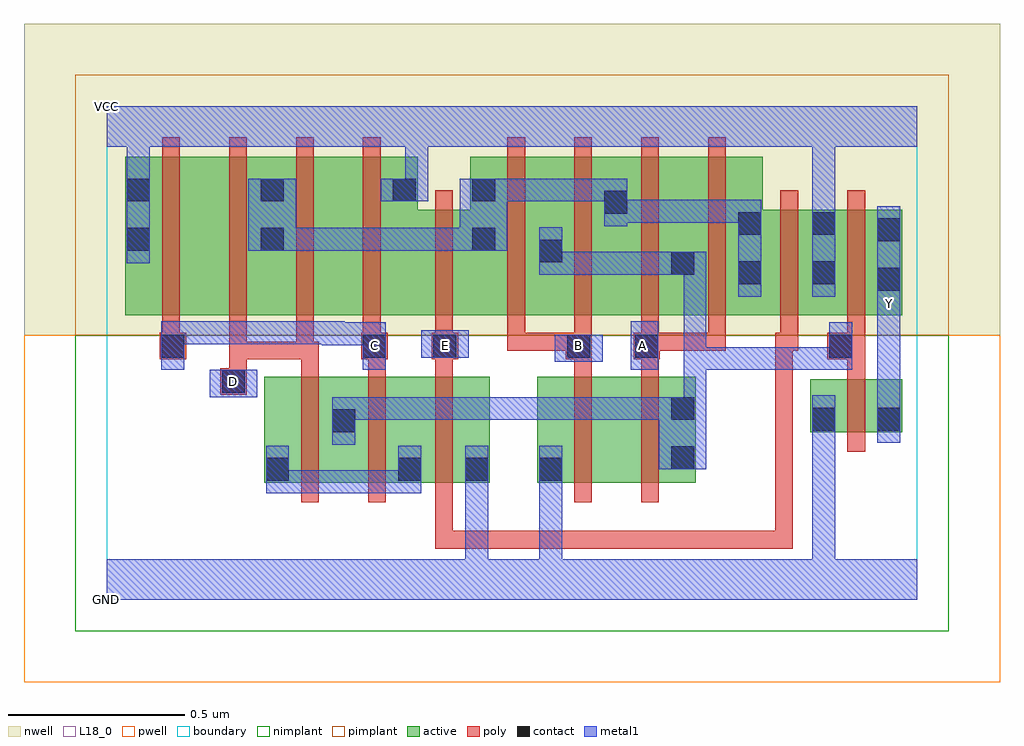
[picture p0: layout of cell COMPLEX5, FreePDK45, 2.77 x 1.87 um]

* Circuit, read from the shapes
.subckt COMPLEX5 A B C D E GND VCC Y
M1 n1 D n2 VSUBS nfet w=0.3u l=0.05u
M2 n2 C n1 VSUBS nfet w=0.3u l=0.05u
M3 GND E n2 VSUBS nfet w=0.3u l=0.05u
M4 n3 B GND VSUBS nfet w=0.3u l=0.05u
M5 n1 A n3 VSUBS nfet w=0.3u l=0.05u
M6 Y n1 GND VSUBS nfet w=0.15u l=0.05u
M7 n4 C VCC n5 pfet w=0.45u l=0.05u
M8 n6 D n4 n5 pfet w=0.45u l=0.05u
M9 n7 D n6 n5 pfet w=0.45u l=0.05u
M10 VCC C n7 n5 pfet w=0.45u l=0.05u
M11 n6 E VCC n5 pfet w=0.3u l=0.05u m=2
M12 n1 B n6 n5 pfet w=0.45u l=0.05u m=2
M13 n1 A n6 n5 pfet w=0.45u l=0.05u m=2
M14 Y n1 VCC n5 pfet w=0.3u l=0.05u
.ends

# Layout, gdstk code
import gdstk
lib = gdstk.Library(unit=1e-6, precision=1e-09)
def R(c, l, rs):  # rectangles x0, y0, x1, y1
    for r in rs: c.add(gdstk.rectangle(r[:2], r[2:], *l))
def A(c, l, x, y, w, h, nx, ny, dx, dy):  # array of equal rectangles
    R(c, l, [(x+i*dx, y+j*dy, x+i*dx+w, y+j*dy+h) for i in range(nx) for j in range(ny)])
active = (1, 0)
pwell = (2, 0)
nwell = (3, 0)
nimplant = (4, 0)
pimplant = (5, 0)
poly = (9, 0)
contact = (10, 0)
metal1 = (11, 0)
L18_0 = (18, 0)
boundary = (235, 0)

complex5 = lib.new_cell('COMPLEX5')
R(complex5, active, [(0.447,0.332,0.522,0.632), (0.447,0.332,0.71,0.632), (0.635,0.332,0.897,0.632), (0.822,0.332,0.897,0.547), (0.822,0.332,1.087,0.632), (1.012,0.332,1.087,0.632), (1.222,0.332,1.447,0.632), (1.222,0.332,1.297,0.547), (1.447,0.332,1.672,0.632), (1.597,0.332,1.672,0.632), (0.635,0.395,0.71,0.545), (1.997,0.475,2.072,0.625), (1.997,0.475,2.257,0.625), (2.182,0.475,2.257,0.625), (0.052,0.807,0.277,1.257), (0.052,0.807,0.127,1.257), (0.277,0.807,0.507,1.257), (0.432,0.807,0.657,1.257), (0.657,0.807,0.882,1.257), (0.807,0.807,1.107,1.107), (1.032,0.807,1.107,1.2), (1.032,0.807,1.297,1.257), (1.222,0.807,1.482,1.257), (1.407,0.807,1.672,1.257), (1.597,0.807,1.862,1.257), (1.787,0.807,2.072,1.107), (1.787,0.807,1.862,1.2), (1.997,0.807,2.072,1.105), (1.997,0.807,2.257,1.107), (2.182,0.807,2.257,1.105), (0.432,0.857,0.507,1.2), (1.222,0.857,1.297,1.07), (1.407,0.857,1.482,1.2), (1.597,0.857,1.672,1.07), (0.807,1.007,0.882,1.2)])
R(complex5, pwell, [(-0.235,-0.235,2.535,0.75)])
R(complex5, nwell, [(-0.235,0.75,2.535,1.635)])
R(complex5, nimplant, [(-0.09,-0.09,2.39,0.75)])
R(complex5, pimplant, [(-0.09,0.75,2.39,1.49)])
A(complex5, poly, 0.552, 0.277, 0.05, 0.41, 3, 1, 0.19, 0)
A(complex5, poly, 0.552, 0.637, 0.05, 0.095, 3, 1, 0.19, 0)
A(complex5, poly, 0.727, 0.707, 0.05, 0.095, 3, 1, 0.205, 0)
A(complex5, poly, 1.327, 0.707, 0.05, 0.095, 3, 1, 0.19, 0)
A(complex5, poly, 0.157, 0.752, 0.05, 0.56, 4, 1, 0.19, 0)
A(complex5, poly, 1.137, 0.752, 0.05, 0.56, 4, 1, 0.19, 0)
R(complex5, poly, [(0.932,0.145,0.982,0.195), (0.932,0.145,0.982,0.195), (0.932,0.145,0.982,0.195), (0.932,0.145,1.22,0.195), (0.932,0.145,0.982,0.327), (1.17,0.145,1.22,0.195), (1.17,0.145,1.22,0.195), (1.17,0.145,1.22,0.195), (1.17,0.145,1.412,0.195), (1.362,0.145,1.412,0.195), (1.362,0.145,1.412,0.195), (1.362,0.145,1.412,0.195), (1.362,0.145,1.625,0.195), (1.575,0.145,1.625,0.195), (1.575,0.145,1.625,0.195), (1.575,0.145,1.625,0.195), (1.575,0.145,1.815,0.195), (1.765,0.145,1.815,0.195), (1.765,0.145,1.815,0.195), (1.765,0.145,1.815,0.195), (1.765,0.145,1.947,0.195), (1.897,0.145,1.947,0.195), (1.897,0.145,1.947,0.195), (1.897,0.145,1.947,0.195), (1.897,0.145,1.947,0.757), (1.327,0.277,1.377,0.687), (1.517,0.277,1.567,0.687), (2.102,0.42,2.152,0.68), (0.322,0.582,0.397,0.657), (0.347,0.607,0.397,0.732), (2.102,0.63,2.152,0.732), (1.327,0.637,1.377,0.732), (1.517,0.637,1.567,0.732), (0.15,0.682,0.225,0.757), (0.347,0.682,0.397,0.732), (0.347,0.682,0.397,0.732), (0.347,0.682,0.397,0.732), (0.347,0.682,0.587,0.732), (0.347,0.682,0.397,0.802), (0.537,0.682,0.587,0.732), (0.537,0.682,0.587,0.732), (0.537,0.682,0.602,0.732), (0.537,0.682,0.587,0.802), (0.722,0.682,0.797,0.757), (0.922,0.682,0.997,0.757), (1.302,0.682,1.377,0.757), (1.495,0.682,1.57,0.757), (2.045,0.682,2.152,0.757), (0.157,0.707,0.207,0.802), (1.137,0.707,1.187,0.757), (1.137,0.707,1.187,0.757), (1.137,0.707,1.187,0.757), (1.137,0.707,1.352,0.757), (1.52,0.707,1.57,0.757), (1.52,0.707,1.57,0.757), (1.52,0.707,1.757,0.757), (1.707,0.707,1.757,0.757), (1.897,0.707,1.947,0.757), (1.897,0.707,1.947,0.757), (1.897,0.707,1.947,0.757), (1.897,0.707,1.947,0.757), (1.897,0.707,1.962,0.757), (1.912,0.707,1.962,0.802), (2.102,0.707,2.152,0.802), (0.932,0.752,0.982,1.162), (1.912,0.752,1.962,1.162), (2.102,0.752,2.152,1.162)])
R(complex5, contact, [(0.452,0.337,0.517,0.402), (0.827,0.337,0.892,0.402), (1.017,0.337,1.082,0.402), (1.227,0.337,1.292,0.402), (1.602,0.37,1.667,0.435), (0.64,0.475,0.705,0.54), (2.002,0.48,2.067,0.545), (2.187,0.48,2.252,0.545), (1.602,0.51,1.667,0.575), (0.327,0.587,0.392,0.652), (0.155,0.687,0.22,0.752), (0.727,0.687,0.792,0.752), (0.927,0.687,0.992,0.752), (1.307,0.687,1.372,0.752), (1.5,0.687,1.565,0.752), (2.05,0.687,2.115,0.752), (2.187,0.877,2.252,0.942), (1.792,0.895,1.857,0.96), (2.002,0.895,2.067,0.96), (1.602,0.922,1.667,0.987), (1.227,0.957,1.292,1.022), (0.057,0.99,0.122,1.055), (0.437,0.99,0.502,1.055), (1.037,0.99,1.102,1.055), (2.187,1.017,2.252,1.082), (1.792,1.035,1.857,1.1), (2.002,1.035,2.067,1.1), (1.412,1.095,1.477,1.16), (0.057,1.13,0.122,1.195), (0.437,1.13,0.502,1.195), (0.812,1.13,0.877,1.195), (1.037,1.13,1.102,1.195)])
R(complex5, metal1, [(0,0,2.3,0.115), (1.017,0.05,1.082,0.367), (1.227,0.05,1.292,0.367), (2.002,0.05,2.067,0.115), (2.002,0.05,2.067,0.115), (2.002,0.05,2.067,0.115), (2.002,0.05,2.067,0.115), (2.002,0.05,2.067,0.51), (0.452,0.302,0.517,0.367), (0.452,0.302,0.517,0.367), (0.452,0.302,0.517,0.437), (0.452,0.302,0.705,0.367), (0.64,0.302,0.705,0.367), (0.64,0.302,0.705,0.367), (0.64,0.302,0.705,0.367), (0.64,0.302,0.892,0.367), (0.827,0.302,0.892,0.437), (1.017,0.302,1.082,0.367), (1.017,0.302,1.082,0.367), (1.017,0.302,1.082,0.367), (1.017,0.302,1.082,0.367), (1.017,0.302,1.082,0.437), (1.227,0.302,1.292,0.367), (1.227,0.302,1.292,0.367), (1.227,0.302,1.292,0.367), (1.227,0.302,1.292,0.367), (1.227,0.302,1.292,0.437), (1.567,0.37,1.702,0.575), (0.64,0.44,0.705,0.575), (2.002,0.445,2.067,0.51), (2.002,0.445,2.067,0.51), (2.002,0.445,2.067,0.58), (2.187,0.445,2.252,0.58), (0.64,0.51,0.705,0.575), (0.64,0.51,0.705,0.575), (0.64,0.51,0.93,0.575), (0.865,0.51,0.93,0.575), (0.865,0.51,0.93,0.575), (0.865,0.51,0.93,0.575), (0.865,0.51,1.155,0.575), (1.09,0.51,1.155,0.575), (1.09,0.51,1.155,0.575), (1.09,0.51,1.155,0.575), (1.09,0.51,1.292,0.575), (1.227,0.51,1.292,0.575), (1.227,0.51,1.292,0.575), (1.227,0.51,1.292,0.575), (1.227,0.51,1.495,0.575), (1.43,0.51,1.495,0.575), (1.43,0.51,1.495,0.575), (1.43,0.51,1.495,0.575), (1.43,0.51,1.632,0.575), (1.637,0.51,1.702,0.717), (2.187,0.515,2.252,0.837), (0.292,0.575,0.427,0.652), (0.155,0.652,0.22,0.787), (0.727,0.652,0.792,0.787), (1.487,0.652,1.565,0.79), (1.637,0.652,1.702,0.717), (1.637,0.652,1.702,0.717), (1.637,0.652,1.702,0.717), (1.637,0.652,1.857,0.717), (1.637,0.652,1.702,0.987), (1.792,0.652,1.857,0.717), (1.792,0.652,1.857,0.717), (1.792,0.652,1.857,0.717), (1.792,0.652,2.115,0.717), (2.05,0.652,2.115,0.717), (2.05,0.652,2.115,0.717), (2.05,0.652,2.115,0.787), (1.272,0.675,1.407,0.752), (0.892,0.687,1.027,0.765), (0.155,0.722,0.22,0.787), (0.155,0.722,0.22,0.79), (0.61,0.722,0.792,0.787), (0.61,0.722,0.675,0.79), (0.155,0.725,0.357,0.79), (0.292,0.725,0.357,0.79), (0.292,0.725,0.495,0.79), (0.43,0.725,0.495,0.79), (0.43,0.725,0.495,0.79), (0.43,0.725,0.495,0.79), (0.43,0.725,0.675,0.79), (2.187,0.772,2.252,0.907), (2.187,0.842,2.252,0.907), (2.187,0.842,2.252,1.117), (1.792,0.86,1.857,1.135), (2.002,0.86,2.067,1.135), (1.227,0.922,1.292,0.987), (1.227,0.922,1.292,0.987), (1.227,0.922,1.292,1.057), (1.227,0.922,1.43,0.987), (1.365,0.922,1.43,0.987), (1.365,0.922,1.43,0.987), (1.365,0.922,1.43,0.987), (1.365,0.922,1.632,0.987), (1.567,0.922,1.702,0.987), (0.057,0.955,0.122,1.23), (0.402,0.99,0.537,1.195), (0.472,0.99,0.537,1.055), (0.472,0.99,0.537,1.055), (0.472,0.99,0.705,1.055), (0.64,0.99,0.705,1.055), (0.64,0.99,0.705,1.055), (0.64,0.99,0.705,1.055), (0.64,0.99,0.842,1.055), (0.777,0.99,0.842,1.055), (0.777,0.99,0.842,1.055), (0.777,0.99,0.842,1.055), (0.777,0.99,1.067,1.055), (1.002,0.99,1.137,1.195), (1.412,1.06,1.477,1.195), (1.412,1.07,1.477,1.135), (1.412,1.07,1.477,1.135), (1.412,1.07,1.72,1.135), (1.655,1.07,1.72,1.135), (1.655,1.07,1.72,1.135), (1.655,1.07,1.72,1.135), (1.655,1.07,1.857,1.135), (2.002,1.07,2.067,1.35), (0.777,1.13,0.912,1.195), (0.847,1.13,0.912,1.35), (1.072,1.13,1.137,1.195), (1.072,1.13,1.137,1.195), (1.072,1.13,1.137,1.195), (1.072,1.13,1.137,1.195), (1.072,1.13,1.292,1.195), (1.227,1.13,1.292,1.195), (1.227,1.13,1.292,1.195), (1.227,1.13,1.292,1.195), (1.227,1.13,1.477,1.195), (0.057,1.165,0.122,1.35), (0,1.285,2.3,1.4), (2.002,1.285,2.067,1.35), (2.002,1.285,2.067,1.35)])
R(complex5, L18_0, [(0,0,2.3,0.115), (1.017,0.05,1.082,0.367), (1.227,0.05,1.292,0.367), (2.002,0.05,2.067,0.115), (2.002,0.05,2.067,0.115), (2.002,0.05,2.067,0.115), (2.002,0.05,2.067,0.115), (2.002,0.05,2.067,0.51), (1.017,0.302,1.082,0.437), (1.017,0.302,1.082,0.367), (1.017,0.302,1.082,0.367), (1.017,0.302,1.082,0.367), (1.017,0.302,1.082,0.367), (1.227,0.302,1.292,0.437), (1.227,0.302,1.292,0.367), (1.227,0.302,1.292,0.367), (1.227,0.302,1.292,0.367), (1.227,0.302,1.292,0.367), (2.002,0.445,2.067,0.58), (2.002,0.445,2.067,0.51), (2.002,0.445,2.067,0.51), (2.187,0.445,2.252,0.58), (2.187,0.515,2.252,0.837), (0.292,0.575,0.427,0.652), (0.327,0.587,0.392,0.652), (0.155,0.652,0.22,0.787), (0.727,0.652,0.792,0.787), (1.487,0.652,1.565,0.79), (1.272,0.675,1.407,0.752), (0.727,0.687,0.792,0.752), (0.892,0.687,1.027,0.765), (0.927,0.687,0.992,0.752), (1.307,0.687,1.372,0.752), (1.487,0.687,1.552,0.752), (0.155,0.722,0.22,0.79), (0.155,0.722,0.22,0.787), (0.61,0.722,0.675,0.79), (0.61,0.722,0.792,0.787), (0.155,0.725,0.357,0.79), (0.292,0.725,0.357,0.79), (0.292,0.725,0.495,0.79), (0.43,0.725,0.495,0.79), (0.43,0.725,0.495,0.79), (0.43,0.725,0.495,0.79), (0.43,0.725,0.675,0.79), (2.187,0.772,2.252,0.907), (2.187,0.807,2.252,0.872), (2.187,0.842,2.252,1.117), (2.187,0.842,2.252,0.907), (2.002,0.86,2.067,1.135), (0.057,0.955,0.122,1.23), (2.002,1.07,2.067,1.35), (0.777,1.13,0.912,1.195), (0.847,1.13,0.912,1.35), (0.057,1.165,0.122,1.35), (0,1.285,2.3,1.4), (2.002,1.285,2.067,1.35), (2.002,1.285,2.067,1.35)])
R(complex5, boundary, [(0,0,2.3,1.4)])
complex5.add(gdstk.Label('A', (1.52,0.72), layer=11, texttype=0))
complex5.add(gdstk.Label('B', (1.34,0.72), layer=11, texttype=0))
complex5.add(gdstk.Label('C', (0.76,0.72), layer=11, texttype=0))
complex5.add(gdstk.Label('D', (0.36,0.62), layer=11, texttype=0))
complex5.add(gdstk.Label('E', (0.96,0.72), layer=11, texttype=0))
complex5.add(gdstk.Label('Y', (2.22,0.84), layer=11, texttype=0))
complex5.add(gdstk.Label('VCC', (0,1.4), layer=11, texttype=0))
complex5.add(gdstk.Label('GND', (0,0), layer=11, texttype=0))

lib.write_gds('COMPLEX5.gds')
